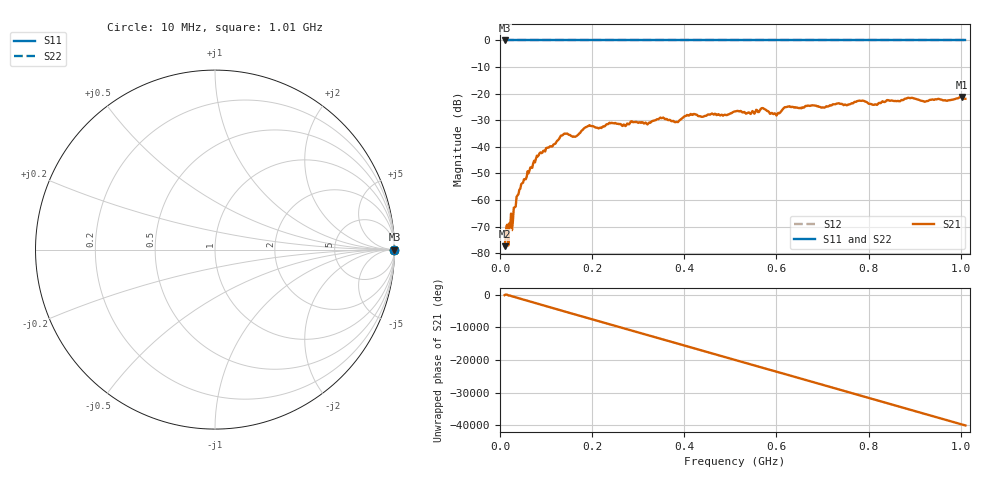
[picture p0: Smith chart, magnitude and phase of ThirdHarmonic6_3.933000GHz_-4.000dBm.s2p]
! 8/17/2025 1:54:14 PM
! C:\ANRITSUVNA\TEMP\TEMP.S2P
! CHANNEL.1
! TR.MEASUREMENT
! RAW.DATA
! RF.CORRECTION.OFF
! AVERAGING.OFF
! IF.BANDWIDTH: 5KHZ
! SWEEPTYPE:  FREQ.SWEEP(Linear)
! Reference Plane Port Info
! PORT:  PORT1  PORT2
! DISTANCE:  0  m  0  m
! TIME:  0  s  0  s
! PHASE.OFFSET:  0  deg.  0  deg.
! LOSS:  0  dB  0  dB
! REF.LOSS:  0  dB  0  dB
! REF.FREQ:  0  Hz  0  Hz
! Power Info
! POWER:  -20  dBm  -20  dBm
! EFF.POWER:  -20  dBm  -20  dBm
! SOURCE.ATTEN:  0  dB  0  dB
! TEST.ATTEN:  0  dB  0  dB
# GHZ S RI R 50.0
! FREQ.GHZ  S11RE  S11IM  S21RE  S21IM  S12RE  S12IM  S22RE  S22IM
!; PortSelection: Port_12
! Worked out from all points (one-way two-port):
!   501 points, 10 MHz to 1.01 GHz, reference 50 ohm
!   highest |S21| = -21.29 dB at 1.002 GHz (marker M1); lowest = -77.4 dB at 10 MHz (marker M2)
!   lowest |S11| = 0.0 dB at 10 MHz (marker M3)
!   |S11| at or under -10 dB: nowhere
!   |S22| runs from 0.0 to 0.0 dB; largest |S21 - S12| = 1.1
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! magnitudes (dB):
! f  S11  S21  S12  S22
! 10 MHz  0.0  -77.4  0.0  0.0
! 22 MHz  0.0  -70.2  0.0  0.0
! 34 MHz  0.0  -62.5  0.0  0.0
! 44 MHz  0.0  -55.8  0.0  0.0
! 82 MHz  0.0  -43.6  0.0  0.0
! 136 MHz  0.0  -35.6  0.0  0.0
! 162 MHz  0.0  -36.2  0.0  0.0
! 178 MHz  0.0  -33.8  0.0  0.0
! 194 MHz  0.0  -31.9  0.0  0.0
! 322 MHz  0.0  -31.2  0.0  0.0
! 344 MHz  0.0  -29.6  0.0  0.0
! 382 MHz  0.0  -30.7  0.0  0.0
! 410 MHz  0.0  -28.3  0.0  0.0
! 510 MHz  0.0  -26.7  0.0  0.0
! 570 MHz  0.0  -25.4  0.0  0.0
! 598 MHz  0.0  -27.6  0.0  0.0
! 622 MHz  0.0  -25.0  0.0  0.0
! 678 MHz  0.0  -24.4  0.0  0.0
! 814 MHz  0.0  -24.0  0.0  0.0
! 844 MHz  0.0  -22.5  0.0  0.0
! 1.002 GHz  0.0  -21.3  0.0  0.0
! 1.01 GHz  0.0  -21.9  0.0  0.0
